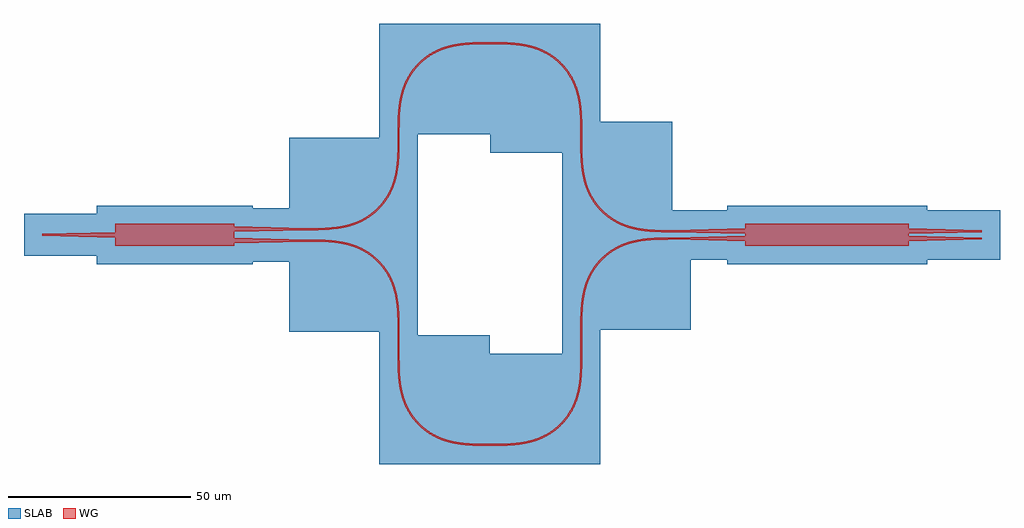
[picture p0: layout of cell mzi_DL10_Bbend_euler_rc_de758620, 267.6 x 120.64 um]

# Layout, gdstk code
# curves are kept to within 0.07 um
from math import pi, radians
import gdstk
lib = gdstk.Library(unit=1e-6, precision=1e-09)
def R(c, l, rs):  # rectangles x0, y0, x1, y1
    for r in rs: c.add(gdstk.rectangle(r[:2], r[2:], *l))
def P(c, l, *ps):  # polygons
    for p in ps: c.add(gdstk.Polygon(p, *l))
WG = (3, 0)
SLAB = (5, 0)

mmi1x2_wnone_wt1p5_lt20_ = lib.new_cell('mmi1x2_WNone_WT1p5_LT20_b2557fc0')
P(mmi1x2_wnone_wt1p5_lt20_, WG, [(0,-3),(0,-0.75),(-20,-0.25),(-20,0.25),(0,0.75),(0,3),(32.7,3),(32.7,2.32),(52.7,1.82),(52.7,1.32),(32.7,0.82),(32.7,-0.82),(52.7,-1.32),(52.7,-1.82),(32.7,-2.32),(32.7,-3)])
P(mmi1x2_wnone_wt1p5_lt20_, SLAB, [(-5,-8),(-5,-5.75),(-25,-5.75),(-25,5.75),(-5,5.75),(-5,8),(37.7,8),(37.7,7.32),(57.7,7.32),(57.7,-7.32),(37.7,-7.32),(37.7,-8)])

bend_euler_rnone_a90_p0_ = lib.new_cell('bend_euler_RNone_A90_P0_ddb8ac70')
P(bend_euler_rnone_a90_p0_, WG, [(0,-0.25),(0,0.25),(3.895,0.29),(6.967,0.482),(9.739,0.889),(12.059,1.482),(13.926,2.184),(15.829,3.168),(17.596,4.379),(19.202,5.798),(20.621,7.404),(21.832,9.171),(22.816,11.074),(23.518,12.941),(24.111,15.261),(24.518,18.033),(24.71,21.105),(24.75,25),(25.25,25),(25.205,20.954),(25.029,18.118),(24.678,15.564),(24.115,13.181),(23.329,10.999),(22.331,9.033),(21.015,7.096),(19.555,5.445),(17.904,3.985),(15.967,2.669),(14.001,1.671),(11.819,0.885),(9.436,0.322),(6.882,-0.029),(4.046,-0.205)])
R(bend_euler_rnone_a90_p0_, SLAB, [(-5,-5.25,30.25,25)])

straight_l1_csxs_rc = lib.new_cell('straight_L1_CSxs_rc')
R(straight_l1_csxs_rc, WG, [(0,-0.25,1,0.25)])
R(straight_l1_csxs_rc, SLAB, [(-5,-5.25,6,5.25)])

straight_l6_csxs_rc = lib.new_cell('straight_L6_CSxs_rc')
R(straight_l6_csxs_rc, WG, [(0,-0.25,6,0.25)])
R(straight_l6_csxs_rc, SLAB, [(-5,-5.25,11,5.25)])

straight_l0p1_csxs_rc = lib.new_cell('straight_L0p1_CSxs_rc')
R(straight_l0p1_csxs_rc, WG, [(0,-0.25,0.1,0.25)])
R(straight_l0p1_csxs_rc, SLAB, [(-5,-5.25,5.1,5.25)])

mmi2x2_wnone_wt1p5_lt20_ = lib.new_cell('mmi2x2_WNone_WT1p5_LT20_8dc9b017')
P(mmi2x2_wnone_wt1p5_lt20_, WG, [(0,-3),(0,-1.765),(-20,-1.265),(-20,-0.765),(0,-0.265),(0,0.265),(-20,0.765),(-20,1.265),(0,1.765),(0,3),(44.8,3),(44.8,1.765),(64.8,1.265),(64.8,0.765),(44.8,0.265),(44.8,-0.265),(64.8,-0.765),(64.8,-1.265),(44.8,-1.765),(44.8,-3)])
P(mmi2x2_wnone_wt1p5_lt20_, SLAB, [(-5,-8),(-5,-6.765),(-25,-6.765),(-25,6.765),(-5,6.765),(-5,8),(49.8,8),(49.8,6.765),(69.8,6.765),(69.8,-6.765),(49.8,-6.765),(49.8,-8)])

straight_l1p555_csxs_rc = lib.new_cell('straight_L1p555_CSxs_rc')
R(straight_l1p555_csxs_rc, WG, [(0,-0.25,1.555,0.25)])
R(straight_l1p555_csxs_rc, SLAB, [(-5,-5.25,6.555,5.25)])

straight_l6p555_csxs_rc = lib.new_cell('straight_L6p555_CSxs_rc')
R(straight_l6p555_csxs_rc, WG, [(0,-0.25,6.555,0.25)])
R(straight_l6p555_csxs_rc, SLAB, [(-5,-5.25,11.555,5.25)])

mzi_dl10_bbend_euler_rc_ = lib.new_cell('mzi_DL10_Bbend_euler_rc_de758620')
mzi_dl10_bbend_euler_rc_.add(gdstk.Reference(mmi1x2_wnone_wt1p5_lt20_, (0,0)))
mzi_dl10_bbend_euler_rc_.add(gdstk.Reference(bend_euler_rnone_a90_p0_, (52.7,-1.57), x_reflection=True))
mzi_dl10_bbend_euler_rc_.add(gdstk.Reference(bend_euler_rnone_a90_p0_, (77.7,-32.57), rotation=3*pi/2))
mzi_dl10_bbend_euler_rc_.add(gdstk.Reference(bend_euler_rnone_a90_p0_, (52.7,1.57)))
mzi_dl10_bbend_euler_rc_.add(gdstk.Reference(bend_euler_rnone_a90_p0_, (102.7,52.57), rotation=pi))
mzi_dl10_bbend_euler_rc_.add(gdstk.Reference(bend_euler_rnone_a90_p0_, (127.8,27.57), rotation=pi/2))
mzi_dl10_bbend_euler_rc_.add(gdstk.Reference(bend_euler_rnone_a90_p0_, (127.8,26.015), rotation=3*pi/2))
mzi_dl10_bbend_euler_rc_.add(gdstk.Reference(bend_euler_rnone_a90_p0_, (102.8,-57.57)))
mzi_dl10_bbend_euler_rc_.add(gdstk.Reference(bend_euler_rnone_a90_p0_, (152.8,-1.015), rotation=pi))
mzi_dl10_bbend_euler_rc_.add(gdstk.Reference(straight_l1_csxs_rc, (77.7,26.57), rotation=pi/2))
mzi_dl10_bbend_euler_rc_.add(gdstk.Reference(straight_l6_csxs_rc, (77.7,-26.57), rotation=3*pi/2))
mzi_dl10_bbend_euler_rc_.add(gdstk.Reference(straight_l0p1_csxs_rc, (102.7,52.57)))
mzi_dl10_bbend_euler_rc_.add(gdstk.Reference(straight_l0p1_csxs_rc, (102.7,-57.57)))
mzi_dl10_bbend_euler_rc_.add(gdstk.Reference(mmi2x2_wnone_wt1p5_lt20_, (217.6,0), rotation=pi, x_reflection=True))
mzi_dl10_bbend_euler_rc_.add(gdstk.Reference(straight_l1p555_csxs_rc, (127.8,26.015), rotation=pi/2))
mzi_dl10_bbend_euler_rc_.add(gdstk.Reference(straight_l6p555_csxs_rc, (127.8,-32.57), rotation=pi/2))

lib.write_gds('mzi_DL10_Bbend_euler_rc_de758620.gds')
